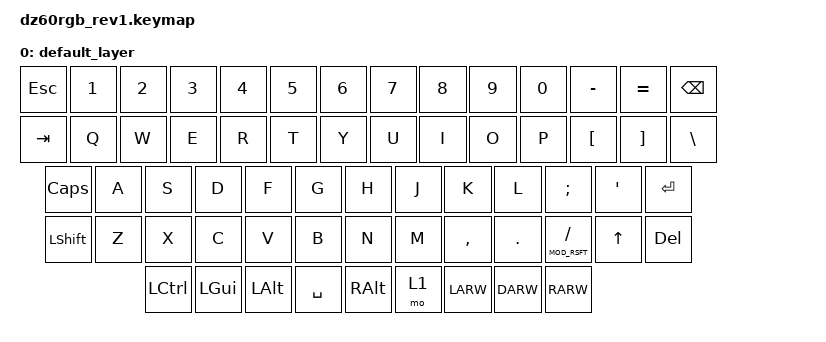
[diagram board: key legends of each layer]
#include <behaviors.dtsi>
#include <dt-bindings/zmk/keys.h>

/ {
	keymap {
		compatible = "zmk,keymap";

		default_layer {
// ------------------------------------------------------------------------------------------
// | ESC |  1  |  2  |  3  |  4  |  5  |  6  |  7  |  8  |  9  |  0  |  -  |  =  |   BKSP   |
// | TAB  |  Q  |  W  |  E  |  R  |  T  |  Y  |  U  |  I  |  O  |  P  |  [  |  ]  |   "|"   |
// | CAPS  |  A  |  S  |  D  |  F  |  G  |  H  |  J  |  K  |  L  |  ;  |  '  |     ENTER    |
// |  SHIFT  |  Z  |  X  |  C  |  V  |  B  |  N  |  M  |  ,  |  .  |  SHIFT(/)  |  ^  | DEL |
// |  CTL  |  WIN  |  ALT  |            SPACE               | ALT | MO(1) |  <- |  v  | ->  |
// ------------------------------------------------------------------------------------------
			bindings = <
	&kp ESC &kp N1 &kp N2 &kp N3 &kp N4 &kp N5 &kp N6 &kp N7 &kp N8 &kp N9 &kp N0 &kp MINUS &kp EQUAL  &kp BSPC
	&kp TAB  &kp   Q   &kp   W   &kp   E   &kp   R   &kp   T   &kp   Y   &kp   U   &kp   I   &kp   O   &kp   P   &kp LBKT &kp RBKT &kp BSLH
	&kp CLCK  &kp   A   &kp   S   &kp   D   &kp   F   &kp   G   &kp   H   &kp   J   &kp   K   &kp   L   &kp  SCLN  &kp  QUOT        &kp RET
	&kp LSHFT   &kp   Z   &kp   X   &kp   C   &kp   V   &kp   B   &kp   N   &kp   M   &kp  CMMA &kp  DOT  &mt MOD_RSFT FSLH &kp UP &kp DEL
	&kp LCTRL &kp   LGUI   &kp   LALT                     &kp SPACE                         &kp  RALT  &mo  1  &kp  LARW	 &kp  DARW  &kp  RARW		
			>;
		};
	};
};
